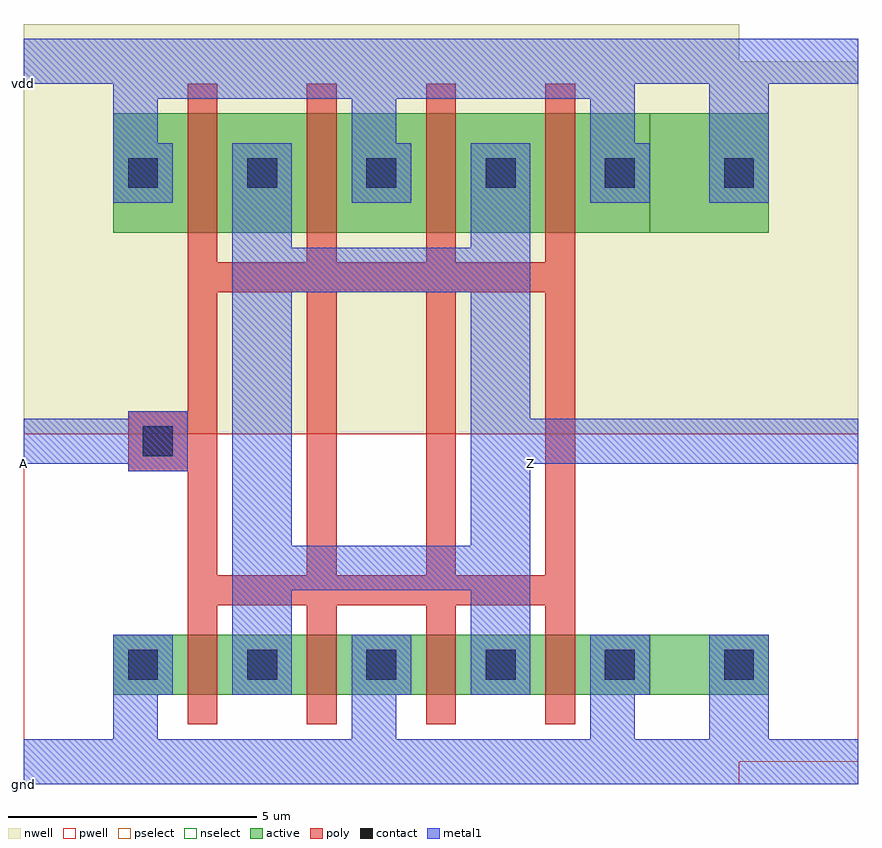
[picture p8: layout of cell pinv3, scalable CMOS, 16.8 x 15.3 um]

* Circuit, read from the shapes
.subckt pinv3 A Z gnd vdd
M1 Z A gnd gnd nfet w=1.2u l=0.6u m=4
M2 Z A vdd vdd pfet w=2.4u l=0.6u m=4
.ends

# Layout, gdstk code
from math import pi, radians
import gdstk
lib = gdstk.Library(unit=1e-6, precision=1e-09)
def R(c, l, rs):  # rectangles x0, y0, x1, y1
    for r in rs: c.add(gdstk.rectangle(r[:2], r[2:], *l))
def A(c, l, x, y, w, h, nx, ny, dx, dy):  # array of equal rectangles
    R(c, l, [(x+i*dx, y+j*dy, x+i*dx+w, y+j*dy+h) for i in range(nx) for j in range(ny)])
contact = (25, 0)
pwell = (41, 0)
nwell = (42, 0)
active = (43, 0)
pselect = (44, 0)
nselect = (45, 0)
poly = (46, 0)
metal1 = (49, 0)

active_contact_metal1_1x = lib.new_cell('active_contact_metal1_1x1')
R(active_contact_metal1_1x, contact, [(0.3,0.3,0.9,0.9)])
R(active_contact_metal1_1x, active, [(0,0,1.2,1.2)])
R(active_contact_metal1_1x, metal1, [(0,0,1.2,1.2)])

nmos_m4_w1_2_a_p = lib.new_cell('nmos_m4_w1_2_a_p')
R(nmos_m4_w1_2_a_p, pwell, [(0,0,14.4,4.8)])
R(nmos_m4_w1_2_a_p, active, [(1.8,1.8,12.6,3)])
R(nmos_m4_w1_2_a_p, nselect, [(1.8,1.8,12.6,3)])
A(nmos_m4_w1_2_a_p, poly, 3.3, 1.2, 0.6, 2.4, 4, 1, 2.4, 0)
R(nmos_m4_w1_2_a_p, poly, [(3.3,0.6,11.1,1.2)])
A(nmos_m4_w1_2_a_p, metal1, 1.8, 1.8, 1.2, 1.2, 5, 1, 2.4, 0)
R(nmos_m4_w1_2_a_p, metal1, [(4.2,0,5.1,0.9), (4.2,0,9.9,0.9), (4.65,0,9.45,0.9), (9,0,9.9,0.9), (4.2,0.45,5.1,0.9), (9,0.45,9.9,1.8), (4.2,0.9,5.1,1.8), (1.8,1.8,2.7,3.9), (6.6,1.8,7.5,3.9), (6.6,1.8,7.5,4.35), (11.4,1.8,12.3,4.35), (1.8,3.9,2.7,4.8), (1.8,3.9,2.7,4.35), (1.8,3.9,12.3,4.8), (2.25,3.9,7.05,4.8), (6.6,3.9,7.5,4.8), (6.6,3.9,7.5,4.8), (6.6,3.9,7.5,4.35), (7.05,3.9,11.85,4.8), (11.4,3.9,12.3,4.8)])
nmos_m4_w1_2_a_p.add(gdstk.Reference(active_contact_metal1_1x, (1.8,1.8)))
nmos_m4_w1_2_a_p.add(gdstk.Reference(active_contact_metal1_1x, (4.2,1.8)))
nmos_m4_w1_2_a_p.add(gdstk.Reference(active_contact_metal1_1x, (6.6,1.8)))
nmos_m4_w1_2_a_p.add(gdstk.Reference(active_contact_metal1_1x, (9,1.8)))
nmos_m4_w1_2_a_p.add(gdstk.Reference(active_contact_metal1_1x, (11.4,1.8)))
nmos_m4_w1_2_a_p.add(gdstk.Label('S', (1.8,3.9), layer=49, texttype=0))
nmos_m4_w1_2_a_p.add(gdstk.Label('D', (4.2,0), layer=49, texttype=0))
nmos_m4_w1_2_a_p.add(gdstk.Label('G', (3.3,0.6), layer=46, texttype=0))

pmos_m4_w2_4_a_p = lib.new_cell('pmos_m4_w2_4_a_p')
R(pmos_m4_w2_4_a_p, nwell, [(0,0,14.4,6)])
R(pmos_m4_w2_4_a_p, active, [(1.8,1.8,12.6,4.2)])
R(pmos_m4_w2_4_a_p, pselect, [(1.8,1.8,12.6,4.2)])
A(pmos_m4_w2_4_a_p, poly, 3.3, 1.2, 0.6, 3.6, 4, 1, 2.4, 0)
R(pmos_m4_w2_4_a_p, poly, [(3.3,0.6,11.1,1.2)])
A(pmos_m4_w2_4_a_p, metal1, 1.8, 2.4, 1.2, 1.2, 5, 1, 2.4, 0)
R(pmos_m4_w2_4_a_p, metal1, [(4.2,0.6,5.1,1.5), (4.2,0.6,9.9,1.5), (4.65,0.6,9.45,1.5), (9,0.6,9.9,1.5), (4.2,1.05,5.1,1.5), (9,1.05,9.9,2.4), (4.2,1.5,5.1,2.4), (1.8,2.4,2.7,4.5), (6.6,2.4,7.5,4.5), (6.6,2.4,7.5,4.95), (11.4,2.4,12.3,4.95), (1.8,4.5,2.7,5.4), (1.8,4.5,2.7,4.95), (1.8,4.5,12.3,5.4), (2.25,4.5,7.05,5.4), (6.6,4.5,7.5,5.4), (6.6,4.5,7.5,5.4), (6.6,4.5,7.5,4.95), (7.05,4.5,11.85,5.4), (11.4,4.5,12.3,5.4)])
pmos_m4_w2_4_a_p.add(gdstk.Reference(active_contact_metal1_1x, (1.8,2.4)))
pmos_m4_w2_4_a_p.add(gdstk.Reference(active_contact_metal1_1x, (4.2,2.4)))
pmos_m4_w2_4_a_p.add(gdstk.Reference(active_contact_metal1_1x, (6.6,2.4)))
pmos_m4_w2_4_a_p.add(gdstk.Reference(active_contact_metal1_1x, (9,2.4)))
pmos_m4_w2_4_a_p.add(gdstk.Reference(active_contact_metal1_1x, (11.4,2.4)))
pmos_m4_w2_4_a_p.add(gdstk.Label('S', (1.8,4.5), layer=49, texttype=0))
pmos_m4_w2_4_a_p.add(gdstk.Label('D', (4.2,0.6), layer=49, texttype=0))
pmos_m4_w2_4_a_p.add(gdstk.Label('G', (3.3,0.6), layer=46, texttype=0))

poly_contact_metal1_1x1 = lib.new_cell('poly_contact_metal1_1x1')
R(poly_contact_metal1_1x1, contact, [(0.3,0.3,0.9,0.9)])
R(poly_contact_metal1_1x1, poly, [(0,0,1.2,1.2)])
R(poly_contact_metal1_1x1, metal1, [(0,0,1.2,1.2)])

pinv3 = lib.new_cell('pinv3')
R(pinv3, pwell, [(0,0,16.8,6.6)])
R(pinv3, nwell, [(0,6.6,16.8,14.1)])
R(pinv3, active, [(1.8,1.35,15,2.55), (1.8,10.65,15,13.05)])
R(pinv3, pselect, [(12.6,1.35,15,2.55)])
R(pinv3, nselect, [(12.6,10.65,15,13.05)])
A(pinv3, poly, 3.3, 3.15, 0.6, 6.9, 4, 1, 2.4, 0)
R(pinv3, poly, [(3.3,5.85,3.9,7.05)])
R(pinv3, metal1, [(0,-0.45,16.8,0.45), (13.8,0.45,15,2.25), (4.2,2.55,5.4,11.4), (9,2.55,10.2,11.4), (0,6,2.1,6.9), (10.2,6,16.8,6.9), (13.8,11.25,15,13.65), (0,13.65,16.8,14.55)])
pinv3.add(gdstk.Reference(nmos_m4_w1_2_a_p, (0,4.35), x_reflection=True))
pinv3.add(gdstk.Reference(pmos_m4_w2_4_a_p, (0,8.85)))
pinv3.add(gdstk.Reference(active_contact_metal1_1x, (13.8,11.25)))
pinv3.add(gdstk.Reference(active_contact_metal1_1x, (13.8,1.35)))
pinv3.add(gdstk.Reference(poly_contact_metal1_1x1, (3.3,5.85), rotation=pi/2))
pinv3.add(gdstk.Label('A', (0,6), layer=49, texttype=0))
pinv3.add(gdstk.Label('Z', (10.2,6), layer=49, texttype=0))
pinv3.add(gdstk.Label('vdd', (0,13.65), layer=49, texttype=0))
pinv3.add(gdstk.Label('gnd', (0,-0.45), layer=49, texttype=0))

lib.write_gds('pinv3.gds')
